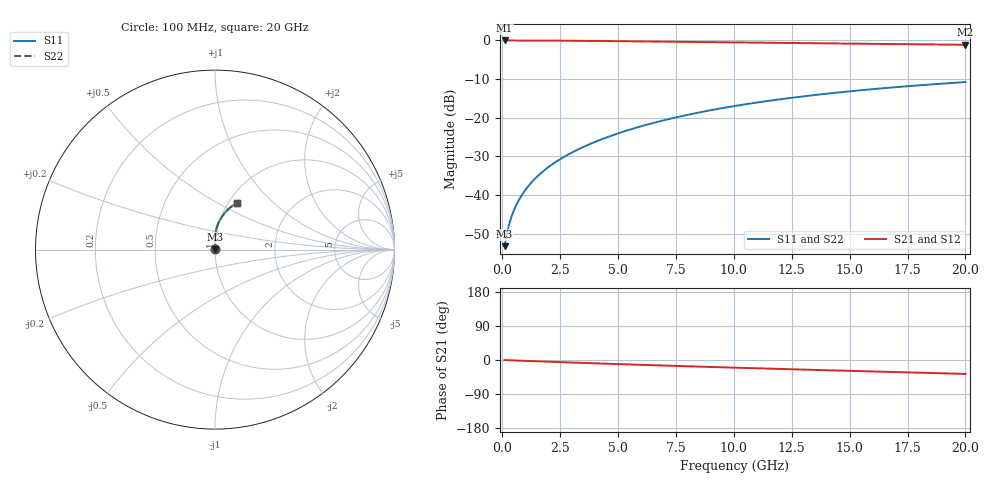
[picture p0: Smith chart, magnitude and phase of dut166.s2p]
! Touchstone file exported from HFSS 2024.1.0
!  File:  C:/UserFiles/LocalFiles/RDL_TSV_Batchsim/temp_RDL_bottom_166_1778698061.aedt
!  Generated:  02:50:19 AM May 14, 2026
!  Design:  RDL_bottom
!  Project:  temp_RDL_bottom_166_1778698061
!  Setup:  Setup1
!  Solution:  Sweep
! Variables:
!  dtsv = 10.80580581um
!  hbump = 3um
!  htsv = 99.98um
!  ldown = 540.88um
!  lrdl = 100um
!  p = 40
!  p1 = 52.28um
!  rhole = 1um
!  t = 450um
!  tdown = 4.57um
!  trdl = 3.915915916um
!  wdown = 27.72um
!  wrdl = 20um
# GHz S MA R 50.000000
! Terminal data exported
! Port[1] = RDL1_T1
! Port[2] = RDL1_T2
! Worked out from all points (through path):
!   200 points, 100 MHz to 20 GHz, reference 50 ohm
!   highest |S21| = -0.02 dB at 100 MHz (marker M1); lowest = -1.1 dB at 20 GHz (marker M2)
!   group delay of S21, straight-line fit = 5.02 ps
!   lowest |S11| = -53.2 dB at 100 MHz (marker M3), VSWR 1.00, Z = 50.2 + j0.133 ohm
!   |S11| at or under -10 dB: start of sweep to end of sweep
!   |S22| runs from -53.2 to -10.8 dB; largest |S21 - S12| = 3e-15
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0.1  0.00218 37.4  0.9983 -0.2  0.9983 -0.2  0.00218 37.4
! Gamma 0 0 0 0
! Port Impedance 50 0 50 0
0.2  0.003173 54.1  0.9981 -0.5  0.9981 -0.5  0.003173 54.1
0.3  0.00423 62.0  0.9979 -0.7  0.9979 -0.7  0.00423 62.0
0.4  0.005279 66.8  0.9977 -0.9  0.9977 -0.9  0.005279 66.8
0.5  0.006324 70.3  0.9976 -1.2  0.9976 -1.2  0.006324 70.3
0.6  0.007374 73.0  0.9974 -1.4  0.9974 -1.4  0.007374 73.0
0.8  0.009502 76.9  0.9971 -1.8  0.9971 -1.8  0.009503 76.9
1.1  0.01277 80.7  0.9965 -2.5  0.9965 -2.5  0.01277 80.7
1.3  0.015 82.5  0.996 -3.0  0.996 -3.0  0.015 82.5
1.6  0.01841 84.5  0.9951 -3.6  0.9951 -3.6  0.01841 84.5
2.1  0.02426 86.7  0.9934 -4.7  0.9934 -4.7  0.02426 86.7
2.7  0.03158 88.4  0.9907 -6.0  0.9907 -6.0  0.03157 88.4
3.5  0.04185 89.6  0.9865 -7.8  0.9865 -7.8  0.04184 89.6
4.2  0.05133 90.1  0.9824 -9.2  0.9824 -9.2  0.05132 90.1
5  0.06269 90.1  0.9772 -10.8  0.9772 -10.8  0.06267 90.1
6.8  0.0899 88.7  0.9648 -14.3  0.9648 -14.3  0.08987 88.7
8.4  0.1153 86.4  0.9535 -17.3  0.9535 -17.3  0.1153 86.4
10.1  0.1428 83.5  0.9417 -20.4  0.9417 -20.4  0.1427 83.4
11.7  0.1684 80.4  0.9308 -23.1  0.9308 -23.1  0.1684 80.4
13.4  0.1951 77.1  0.9195 -26.0  0.9195 -26.0  0.195 77.1
16.7  0.2443 70.8  0.898 -31.4  0.898 -31.4  0.2441 70.7
20  0.2891 64.7  0.877 -36.7  0.877 -36.7  0.2889 64.7
